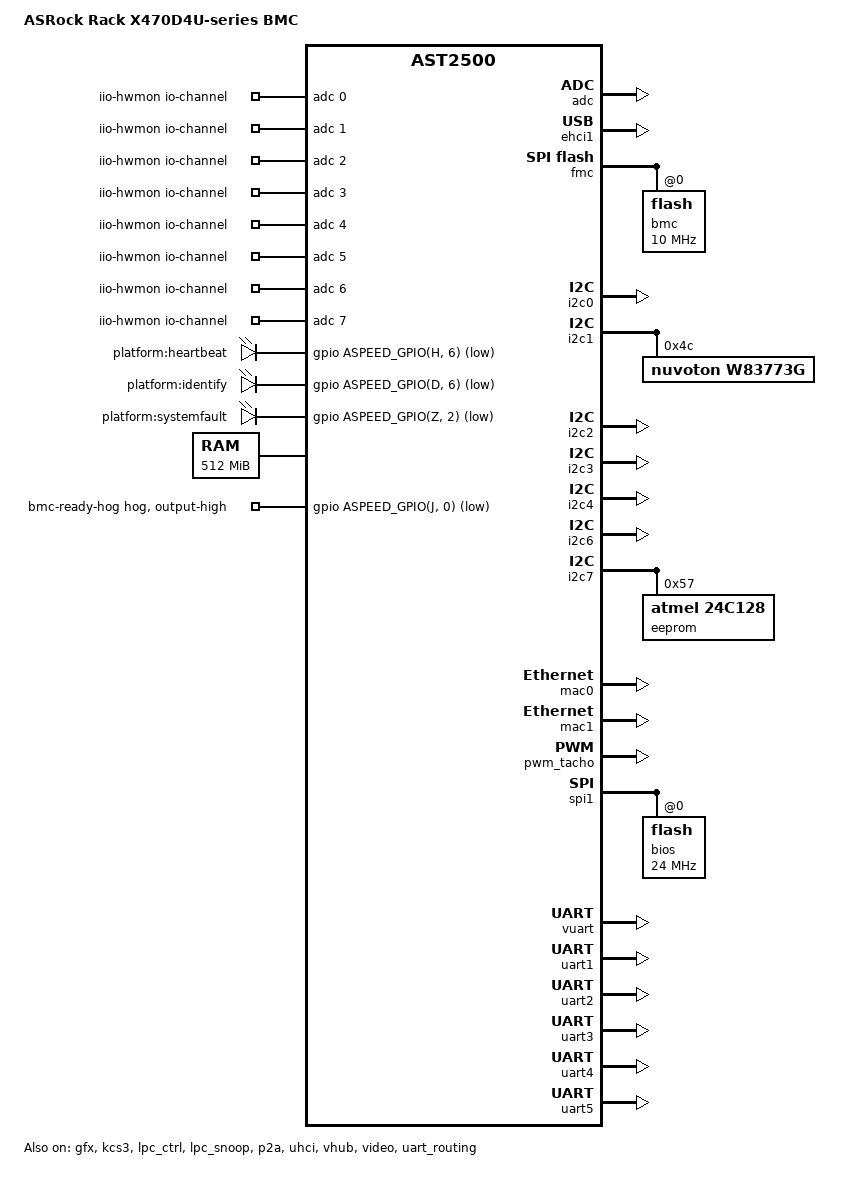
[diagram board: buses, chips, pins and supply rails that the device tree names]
// SPDX-License-Identifier: GPL-2.0+
/dts-v1/;

#include "aspeed-g5.dtsi"
#include <dt-bindings/gpio/aspeed-gpio.h>
#include <dt-bindings/leds/common.h>
#include <dt-bindings/interrupt-controller/irq.h>

/ {
	compatible = "asrock,x470d4u-bmc", "aspeed,ast2500";
	model = "ASRock Rack X470D4U-series BMC";

	aliases {
		serial4 = &uart5;
	};

	chosen {
		stdout-path = &uart5;
	};

	iio-hwmon {
		compatible = "iio-hwmon";
		io-channels = <&adc 0>, <&adc 1>, <&adc 2>, <&adc 3>, <&adc 4>,
			      <&adc 5>, <&adc 6>, <&adc 7>, <&adc 8>, <&adc 9>,
			      <&adc 10>, <&adc 11>, <&adc 12>;
	};

	leds {
		compatible = "gpio-leds";

		led-heartbeat {
			/* led-heartbeat-n */
			gpios = <&gpio ASPEED_GPIO(H, 6) GPIO_ACTIVE_LOW>;
			label = "platform:heartbeat";
			linux,default-trigger = "timer";
		};

		led-identify {
			/* led-identify-n */
			gpios = <&gpio ASPEED_GPIO(D, 6) GPIO_ACTIVE_LOW>;
			label = "platform:identify";
		};

		led-systemfault {
			/* led-fault-n */
			gpios = <&gpio ASPEED_GPIO(Z, 2) GPIO_ACTIVE_LOW>;
			label = "platform:systemfault";
			panic-indicator;
		};
	};

	memory@80000000 {
		reg = <0x80000000 0x20000000>;
	};

	reserved-memory {
		ranges;
		#address-cells = <1>;
		#size-cells = <1>;

		pci_memory: region@9a000000 {
			reg = <0x9a000000 0x00010000>; /* 64K */
			no-map;
		};

		gfx_memory: framebuffer {
			compatible = "shared-dma-pool";
			alignment = <0x01000000>;
			reusable;
			size = <0x01000000>;
		};

		video_engine_memory: jpegbuffer {
			compatible = "shared-dma-pool";
			alignment = <0x01000000>;
			reusable;
			size = <0x02800000>;	/* 40M */
		};
	};
};

&adc {
	pinctrl-0 = <&pinctrl_adc0_default	/* 3VSB */
		    &pinctrl_adc1_default	/* 5VSB */
		    &pinctrl_adc2_default	/* VCPU */
		    &pinctrl_adc3_default	/* VSOC */
		    &pinctrl_adc4_default	/* VCCM */
		    &pinctrl_adc5_default	/* APU-VDDP */
		    &pinctrl_adc6_default	/* 1V05-PROM-S5 */
		    &pinctrl_adc7_default	/* 2V5-PROM */
		    &pinctrl_adc8_default	/* 1V05-PROM-RUN */
		    &pinctrl_adc9_default	/* VBAT */
		    &pinctrl_adc10_default	/* 3V */
		    &pinctrl_adc11_default	/* 5V */
		    &pinctrl_adc12_default>;	/* 12V */
	pinctrl-names = "default";

	status = "okay";
};

&ehci1 {
	status = "okay";
};

&fmc {
	status = "okay";

	flash@0 {
		label = "bmc";
		spi-max-frequency = <10000000>;
		m25p,fast-read;

		status = "okay";

#include "openbmc-flash-layout.dtsi"
	};
};

&gfx {
	memory-region = <&gfx_memory>;

	status = "okay";
};

&gpio {
	gpio-line-names =
	/*  A */ "input-locatorled-n", "", "", "", "", "", "", "",
	/*  B */ "input-bios-post-cmplt-n", "", "", "", "", "", "", "",
	/*  C */ "", "", "", "", "", "", "", "",
	/*  D */ "button-power-n", "control-power-n", "button-reset-n",
		 "control-reset-n", "", "", "", "",
	/*  E */ "", "", "", "", "", "", "", "",
	/*  F */ "", "", "", "", "", "", "", "",
	/*  G */ "output-hwm-vbat-enable", "input-id0-n", "input-id1-n",
		 "input-id2-n", "input-aux-smb-alert-n", "",
		 "input-psu-smb-alert-n", "",
	/*  H */ "", "", "", "", "input-mfg-mode-n", "",
		 "led-heartbeat-n", "input-case-open-n",
	/*  I */ "", "", "", "", "", "", "", "",
	/*  J */ "output-bmc-ready-n", "output-bios-cs-n", "", "", "", "",
		 "", "",
	/*  K */ "", "", "", "", "", "", "", "",
	/*  L */ "", "", "", "", "", "", "", "",
	/*  M */ "", "", "", "", "", "", "", "",
	/*  N */ "", "", "", "", "", "", "", "",
	/*  O */ "", "", "", "", "", "", "", "",
	/*  P */ "", "", "", "", "", "", "", "",
	/*  Q */ "", "", "", "", "input-bmc-smb-present-n", "", "",
		 "input-pcie-wake-n",
	/*  R */ "", "", "", "", "", "", "", "",
	/*  S */ "input-bmc-pchhot-n", "", "", "", "", "", "", "",
	/*  T */ "", "", "", "", "", "", "", "",
	/*  U */ "", "", "", "", "", "", "", "",
	/*  V */ "", "", "", "", "", "", "", "",
	/*  W */ "", "", "", "", "", "", "", "",
	/*  X */ "", "", "", "", "", "", "", "",
	/*  Y */ "input-sleep-s3-n", "input-sleep-s5-n", "", "", "", "",
		 "", "",
	/*  Z */ "", "", "led-fault-n", "output-bmc-throttle-n", "", "",
		 "", "",
	/* AA */ "input-cpu1-thermtrip-latch-n", "",
		 "input-cpu1-prochot-n", "", "", "", "", "",
	/* AB */ "", "input-power-good", "", "hard-power-off", "", "", "", "",
	/* AC */ "", "", "", "", "", "", "", "";

	bmc-ready-hog {
		gpio-hog;
		gpios = <ASPEED_GPIO(J, 0) GPIO_ACTIVE_LOW>;
		output-high;
	};
};

&i2c0 {
	/* SMBus on auxiliary panel header (AUX_PANEL1) */
	status = "okay";
};

&i2c1 {
	/* Hardware monitoring SMBus */
	status = "okay";

	w83773g@4c {
		compatible = "nuvoton,w83773g";
		reg = <0x4c>;
	};
};

&i2c2 {
	/* PSU SMBus (PSU_SMB1) */
	status = "okay";
};

&i2c3 {
	status = "okay";
};

&i2c4 {
	status = "okay";
};

&i2c6 {
	/* SMBus on BMC connector (BMC_SMB_1) */
	status = "okay";
};

&i2c7 {
	/* FRU EEPROM */
	status = "okay";

	eeprom@57 {
		compatible = "atmel,24c128";
		reg = <0x57>;
		pagesize = <16>;

		nvmem-layout {
			compatible = "fixed-layout";
			#address-cells = <1>;
			#size-cells = <1>;

			eth0_macaddress: macaddress@3f80 {
				reg = <0x3f80 6>;
			};

			eth1_macaddress: macaddress@3f88 {
				reg = <0x3f88 6>;
			};
		};
	};
};

&kcs3 {
	aspeed,lpc-io-reg = <0xca2>;

	status = "okay";
};

&lpc_ctrl {
	status = "okay";
};

&lpc_snoop {
	snoop-ports = <0x80>;

	status = "okay";
};

&mac0 {
	nvmem-cells = <&eth0_macaddress>;
	nvmem-cell-names = "mac-address";

	pinctrl-0 = <&pinctrl_rgmii1_default &pinctrl_mdio1_default>;
	pinctrl-names = "default";

	status = "okay";
};

&mac1 {
	nvmem-cells = <&eth1_macaddress>;
	nvmem-cell-names = "mac-address";

	pinctrl-0 = <&pinctrl_rmii2_default>;
	pinctrl-names = "default";
	use-ncsi;

	status = "okay";
};

&pwm_tacho {
	pinctrl-0 = <&pinctrl_pwm0_default
		    &pinctrl_pwm1_default
		    &pinctrl_pwm2_default
		    &pinctrl_pwm3_default
		    &pinctrl_pwm4_default
		    &pinctrl_pwm5_default>;
	pinctrl-names = "default";

	status = "okay";

	fan@0 {
		/* FAN1 (4-pin) */
		reg = <0x00>;
		aspeed,fan-tach-ch = /bits/ 8 <0x00>;
	};

	fan@1 {
		/* FAN2 (4-pin) */
		reg = <0x01>;
		aspeed,fan-tach-ch = /bits/ 8 <0x01>;
	};

	fan@2 {
		/* FAN3 (4-pin) */
		reg = <0x02>;
		aspeed,fan-tach-ch = /bits/ 8 <0x02>;
	};

	fan@3 {
		/* FAN4 (6-pin) */
		reg = <0x03>;
		aspeed,fan-tach-ch = /bits/ 8 <0x03 0x0b>;
	};

	fan@4 {
		/* FAN5 (6-pin) */
		reg = <0x04>;
		aspeed,fan-tach-ch = /bits/ 8 <0x04 0x0d>;
	};

	fan@5 {
		/* FAN6 (6-pin) */
		reg = <0x05>;
		aspeed,fan-tach-ch = /bits/ 8 <0x05 0x0e>;
	};
};

&p2a {
	memory-region = <&pci_memory>;

	status = "okay";
};

&spi1 {
	pinctrl-0 = <&pinctrl_spi1_default>;
	pinctrl-names = "default";

	status = "okay";

	flash@0 {
		label = "bios";
		/* Frequency extracted from original ROM */
		spi-max-frequency = <24000000>; /* 24 MHz */
		m25p,fast-read;

		status = "okay";
	};
};

&uhci {
	status = "okay";
};

&vhub {
	status = "okay";
};

&video {
	memory-region = <&video_engine_memory>;

	status = "okay";
};

&vuart {
	aspeed,lpc-interrupts = <3 IRQ_TYPE_LEVEL_HIGH>;
	aspeed,lpc-io-reg = <0x2f8>;

	status = "okay";
};

&uart1 {
	status = "okay";
};

&uart2 {
	status = "okay";
};

&uart3 {
	status = "okay";
};

&uart4 {
	status = "okay";
};

&uart5 {
	status = "okay";
};

&uart_routing {
	status = "okay";
};
